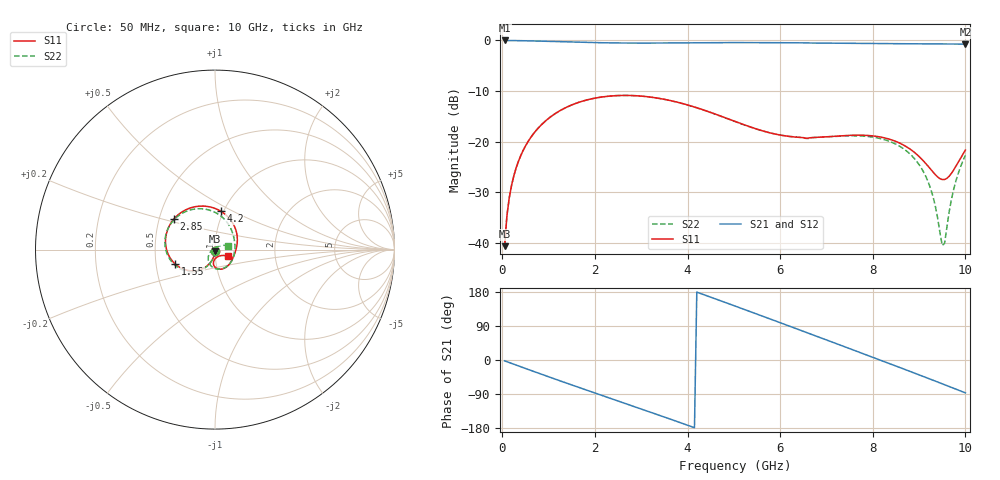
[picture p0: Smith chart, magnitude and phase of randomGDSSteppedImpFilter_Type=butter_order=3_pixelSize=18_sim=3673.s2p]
! freq	dB(S11)	phase(S11)	dB(S12)	phase(S12)
!  dB(S21)	phase(S21)	dB(S22)	phase(S22)
!S-par simulation data
#  GHz  S  DB  R 50
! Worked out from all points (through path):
!   200 points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, 50 MHz to 10 GHz, reference 50 ohm
!   highest |S21| = 0.00 dB at 50 MHz (marker M1); lowest = -0.7 dB at 10 GHz (marker M2)
!   group delay of S21, straight-line fit = 123 ps
!   lowest |S11| = -40.6 dB at 50 MHz (marker M3), VSWR 1.02, Z = 50 - j0.933 ohm
!   |S11| at or under -10 dB: start of sweep to end of sweep
!   |S22| runs from -40.6 to -10.8 dB; largest |S21 - S12| = 0
!   S11 on the Smith chart (normalised r, x): 50 MHz: 1.00, -0.02; 1.55 GHz: 0.63, -0.11; 2.85 GHz: 0.60, +0.22; 4.2 GHz: 0.97, +0.44; 10 GHz: 1.16, -0.09
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0.05  -40.59 -92.1  -0.00 -2.3  -0.00 -2.3  -40.59 -92.1
0.1  -34.58 -94.6  -0.01 -4.5  -0.01 -4.5  -34.58 -94.5
0.2  -28.59 -99.4  -0.02 -9.0  -0.02 -9.0  -28.59 -99.1
0.45  -21.71 -111.1  -0.06 -20.1  -0.06 -20.1  -21.71 -110.3
0.9  -16.15 -131.5  -0.15 -39.9  -0.15 -39.9  -16.15 -129.9
1.55  -12.54 -160.3  -0.33 -68.0  -0.33 -68.0  -12.54 -157.4
1.75  -11.93 -169.0  -0.37 -76.5  -0.37 -76.5  -11.93 -165.6
2.3  -10.99 167.1  -0.48 -99.7  -0.48 -99.7  -11.00 171.9
2.85  -10.89 143.1  -0.52 -122.8  -0.52 -122.8  -10.89 149.6
3.4  -11.45 118.6  -0.51 -146.2  -0.51 -146.2  -11.46 127.3
4.2  -13.28 81.8  -0.46 179.1  -0.46 179.1  -13.29 94.9
5.05  -16.06 41.7  -0.42 141.3  -0.42 141.3  -16.09 60.3
5.9  -18.49 3.8  -0.44 103.0  -0.44 103.0  -18.49 24.4
6.7  -19.16 -26.3  -0.51 66.6  -0.51 66.6  -19.17 -12.4
7.55  -18.71 -56.7  -0.57 27.8  -0.57 27.8  -18.81 -54.9
8.35  -19.46 -83.8  -0.63 -9.0  -0.63 -9.0  -19.87 -94.8
9.1  -23.83 -96.2  -0.66 -43.8  -0.66 -43.8  -26.01 -136.1
9.3  -25.96 -88.5  -0.67 -53.3  -0.67 -53.3  -30.78 -153.4
9.5  -27.45 -68.1  -0.68 -62.7  -0.68 -62.7  -40.44 139.3
9.55  -27.44 -61.3  -0.68 -65.1  -0.68 -65.1  -40.04 97.0
9.75  -25.51 -37.9  -0.69 -74.6  -0.69 -74.6  -29.28 38.2
10  -21.63 -26.8  -0.73 -86.8  -0.73 -86.8  -22.65 17.9
